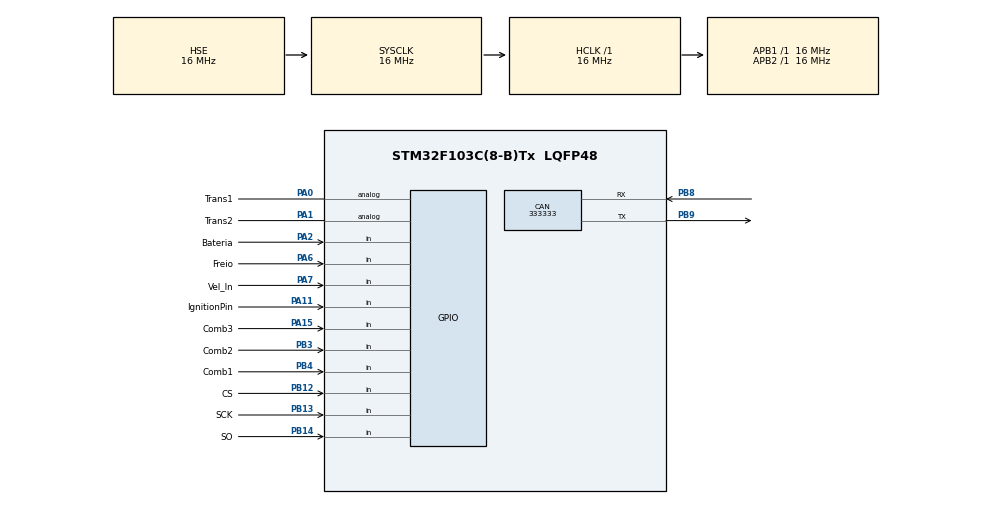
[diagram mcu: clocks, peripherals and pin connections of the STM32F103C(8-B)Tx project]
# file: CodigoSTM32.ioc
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CAN.CalculateBaudRate=333333
CAN.CalculateTimeBit=3000.00
CAN.CalculateTimeQuantum=1000.0
Mcu.Family=STM32F1
Mcu.Name=STM32F103C(8-B)Tx
Mcu.Package=LQFP48
NVIC.PriorityGroup=NVIC_PRIORITYGROUP_4
PA0-WKUP.GPIO_Label=Trans1
PA0-WKUP.Signal=GPIO_Analog
PA1.GPIO_Label=Trans2
PA1.Signal=GPIO_Analog
PA10.GPIO_Label=Serial_RX
PA10.Signal=USART1_RX
PA11.GPIO_Label=IgnitionPin
PA11.Signal=GPIO_Input
PA15.GPIO_Label=Comb3
PA15.Signal=GPIO_Input
PA2.GPIO_Label=Bateria
PA2.Signal=GPIO_Input
PA6.GPIO_Label=Freio
PA6.Signal=GPIO_Input
PA7.GPIO_Label=Vel_In
PA7.Signal=GPIO_Input
PA9.GPIO_Label=Serial_TX
PA9.Signal=USART1_TX
PB12.GPIO_Label=CS
PB12.Signal=GPIO_Input
PB13.GPIO_Label=SCK
PB13.Signal=GPIO_Input
PB14.GPIO_Label=SO
PB14.Signal=GPIO_Input
PB3.GPIO_Label=Comb2
PB3.Signal=GPIO_Input
PB4.GPIO_Label=Comb1
PB4.Signal=GPIO_Input
PB8.Mode=CAN_Activate
PB8.Signal=CAN_RX
PB9.Mode=CAN_Activate
PB9.Signal=CAN_TX
PD0-OSC_IN.Mode=HSE-External-Oscillator
PD0-OSC_IN.Signal=RCC_OSC_IN
PD1-OSC_OUT.Mode=HSE-External-Oscillator
PD1-OSC_OUT.Signal=RCC_OSC_OUT
ProjectManager.HeapSize=0x200
ProjectManager.StackSize=0x400
ProjectManager.TargetToolchain=STM32CubeIDE
RCC.AHBFreq_Value=16000000
RCC.APB1Freq_Value=16000000
RCC.APB1TimFreq_Value=16000000
RCC.APB2Freq_Value=16000000
RCC.APB2TimFreq_Value=16000000
RCC.HCLKFreq_Value=16000000
RCC.HSE_VALUE=16000000
RCC.SYSCLKFreq_VALUE=16000000
RCC.SYSCLKSource=RCC_SYSCLKSOURCE_HSE
RCC.USBFreq_Value=8000000
VP_SYS_VS_ND.Mode=No_Debug
board=custom

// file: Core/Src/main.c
#include "main.h"

typedef enum {false, true} bool;

/* USER CODE BEGIN PV */
// Velocidade
	#define PI 3.1416
	#define DIAMETRO 0.51916 //Diametro efetivo da roda em metros
	#define COMP_TOTAL (PI*DIAMETRO) // Comprimento da circunferência do sensor capacitivo
	#define COMP_PARCIAL (PI*DIAMETRO/3) // Circuferência possui 3 gomos iguais, podemos dividir por 3
/* USER CODE END PV */

CAN_HandleTypeDef hcan;

/* USER CODE BEGIN PV */
	// COMBUSTÍVEL
		float desceLed; // Variável para descer os leds do painel
		unsigned int ledComb; // Variável para leitura dos leds
		float valorTotal; // Variável para calculo do tempo total
		bool primeira = true; // Variável para o primeiro enchimento do tanque
		int tempComp = 0, tempMais = 0, tempMenos = 0, tempComp2 = 0, tempComp3 = 0, tempComp4 = 0; // Variáveis para comparar tempo de consumo
		bool flagCima = false, flagMedio = false, flagBaixo = false, flagMBaixo = false, flagCompTempo = false, flagCompTempo2 = false; // Variáveis para verificar nível de combutível
		int flagDesceCima = 0, flagDesceMedio = 0, flagDesceBaixo = 0, flagDesceMBaixo = 0, flagSobe = 0, flagVariacao = 0; // Variáveis para confirmação da leitura do sensor

	// FREIO
		float valorTrans1 = 0.0, valorTrans2 = 0.0; //Variáveis para os transdutores de pressão
		int transMinDia = 0, transMaxDia = 0; // Valor máximo e mínimo do transdutor dianteiro
		int transMinTras = 0, transMaxTras = 0; // Valor máximo e mínimo do transdutor traseiro
		int dadosTrans = 0;

	// RPM
		const unsigned int pulsesPerRev = 1;
		unsigned long int lastPulseTime = 0; // Tenpo do ultimo pulso
		unsigned long int RPM = 0;
		unsigned long int tempoMomento = 0;
		unsigned long int interval = 0;
		unsigned int RPM_Led;
		int flag_rpm = 0;

	// SENSOR TEMPERATURA CVT
		float tempCVT = 0;
	falta max6675
	//TELEMETRIA
		int dadosComunicacao = 0;
		char input[];
		char Compa[];

	// VARIÁVEIS DE COMPARAÇÃO
		bool estadoVel = false, estadoRPM = false, estadoComb = false, estadoTemp = false, estadoBat = false, estadoFreio = false, estadoTrans = false, estadoTel = false;
		int tempoCombCVT = 0;
		int tempoBateria = 0;

	// VELOCIDADE
		int vel = 10; // Velocidade em Km/h
		int vel1 = 0; // Velocidade em T instantes antes
		int tempoVelRPM = 0;
/* USER CODE END PV */

void SystemClock_Config(void);
static void MX_GPIO_Init(void);
static void MX_CAN_Init(void);

int main(void)
{

  /* MCU Configuration--------------------------------------------------------*/

  /* Reset of all peripherals, Initializes the Flash interface and the Systick. */
  HAL_Init();

  /* Configure the system clock */
  SystemClock_Config();

  /* Initialize all configured peripherals */
  MX_GPIO_Init();
  MX_CAN_Init();

  /* Infinite loop */
  while (1)
  {

  }
}

void SystemClock_Config(void)
{
  RCC_OscInitTypeDef RCC_OscInitStruct = {0};
  RCC_ClkInitTypeDef RCC_ClkInitStruct = {0};

  /** Initializes the RCC Oscillators according to the specified parameters
  * in the RCC_OscInitTypeDef structure.
  */
  RCC_OscInitStruct.OscillatorType = RCC_OSCILLATORTYPE_HSE;
  RCC_OscInitStruct.HSEState = RCC_HSE_ON;
  RCC_OscInitStruct.PLL.PLLState = RCC_PLL_NONE;
  if (HAL_RCC_OscConfig(&RCC_OscInitStruct) != HAL_OK)
  {
    Error_Handler();
  }
  /** Initializes the CPU, AHB and APB buses clocks
  */
  RCC_ClkInitStruct.ClockType = RCC_CLOCKTYPE_HCLK|RCC_CLOCKTYPE_SYSCLK
                              |RCC_CLOCKTYPE_PCLK1|RCC_CLOCKTYPE_PCLK2;
  RCC_ClkInitStruct.SYSCLKSource = RCC_SYSCLKSOURCE_HSE;
  RCC_ClkInitStruct.AHBCLKDivider = RCC_SYSCLK_DIV1;
  RCC_ClkInitStruct.APB1CLKDivider = RCC_HCLK_DIV1;
  RCC_ClkInitStruct.APB2CLKDivider = RCC_HCLK_DIV1;

  if (HAL_RCC_ClockConfig(&RCC_ClkInitStruct, FLASH_LATENCY_0) != HAL_OK)
  {
    Error_Handler();
  }
}

static void MX_CAN_Init(void)
{

  hcan.Instance = CAN1;
  hcan.Init.Prescaler = 16;
  hcan.Init.Mode = CAN_MODE_NORMAL;
  hcan.Init.SyncJumpWidth = CAN_SJW_1TQ;
  hcan.Init.TimeSeg1 = CAN_BS1_1TQ;
  hcan.Init.TimeSeg2 = CAN_BS2_1TQ;
  hcan.Init.TimeTriggeredMode = DISABLE;
  hcan.Init.AutoBusOff = DISABLE;
  hcan.Init.AutoWakeUp = DISABLE;
  hcan.Init.AutoRetransmission = DISABLE;
  hcan.Init.ReceiveFifoLocked = DISABLE;
  hcan.Init.TransmitFifoPriority = DISABLE;
  if (HAL_CAN_Init(&hcan) != HAL_OK)
  {
    Error_Handler();
  }

}

static void MX_GPIO_Init(void)
{
  GPIO_InitTypeDef GPIO_InitStruct = {0};

  /* GPIO Ports Clock Enable */
  __HAL_RCC_GPIOD_CLK_ENABLE();
  __HAL_RCC_GPIOA_CLK_ENABLE();
  __HAL_RCC_GPIOB_CLK_ENABLE();

  /*Configure GPIO pins : Trans1_Pin Trans2_Pin */
  GPIO_InitStruct.Pin = Trans1_Pin|Trans2_Pin;
  GPIO_InitStruct.Mode = GPIO_MODE_ANALOG;
  HAL_GPIO_Init(GPIOA, &GPIO_InitStruct);

  /*Configure GPIO pins : Bateria_Pin Freio_Pin Vel_In_Pin IgnitionPin_Pin
                           Comb3_Pin */
  GPIO_InitStruct.Pin = Bateria_Pin|Freio_Pin|Vel_In_Pin|IgnitionPin_Pin
                          |Comb3_Pin;
  GPIO_InitStruct.Mode = GPIO_MODE_INPUT;
  GPIO_InitStruct.Pull = GPIO_NOPULL;
  HAL_GPIO_Init(GPIOA, &GPIO_InitStruct);

  /*Configure GPIO pins : CS_Pin SCK_Pin SO_Pin Comb2_Pin
                           Comb1_Pin */
  GPIO_InitStruct.Pin = CS_Pin|SCK_Pin|SO_Pin|Comb2_Pin
                          |Comb1_Pin;
  GPIO_InitStruct.Mode = GPIO_MODE_INPUT;
  GPIO_InitStruct.Pull = GPIO_NOPULL;
  HAL_GPIO_Init(GPIOB, &GPIO_InitStruct);

  /*Configure GPIO pin : Serial_TX_Pin */
  GPIO_InitStruct.Pin = Serial_TX_Pin;
  GPIO_InitStruct.Mode = GPIO_MODE_AF_PP;
  GPIO_InitStruct.Speed = GPIO_SPEED_FREQ_HIGH;
  HAL_GPIO_Init(Serial_TX_GPIO_Port, &GPIO_InitStruct);

  /*Configure GPIO pin : Serial_RX_Pin */
  GPIO_InitStruct.Pin = Serial_RX_Pin;
  GPIO_InitStruct.Mode = GPIO_MODE_INPUT;
  GPIO_InitStruct.Pull = GPIO_NOPULL;
  HAL_GPIO_Init(Serial_RX_GPIO_Port, &GPIO_InitStruct);

}

void Error_Handler(void)
{
  __disable_irq();
  while (1)
  {
  }
}

/************************ (C) COPYRIGHT STMicroelectronics *****END OF FILE****/
